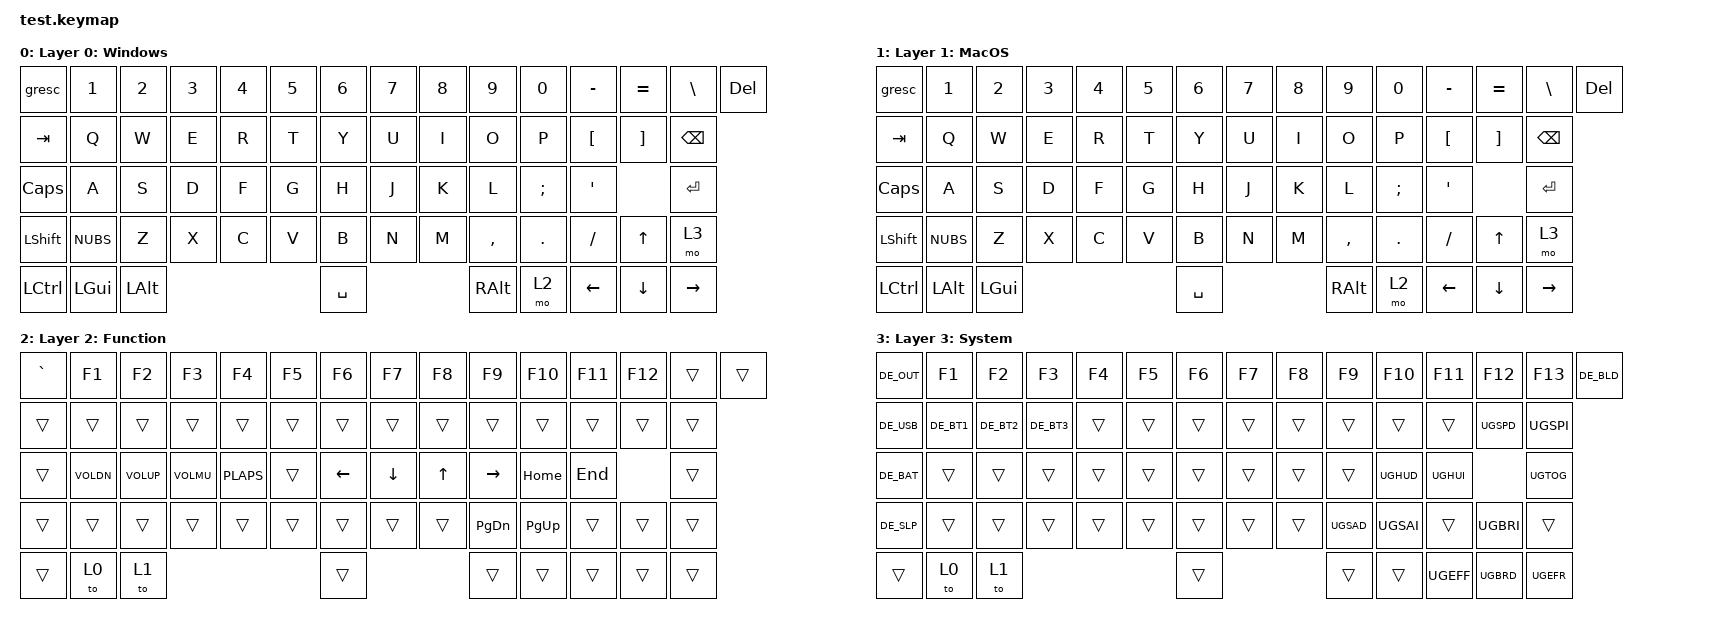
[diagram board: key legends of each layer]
/*
 * Copyright (c) 2026 DEKB
 * SPDX-License-Identifier: MIT
 */

#include "../common.keymap"

#define VOLUP kp C_VOL_UP
#define VOLDN kp C_VOL_DN
#define VOLMU kp C_MUTE
#define PLAPS kp C_PLAY_PAUSE

/ {
    keymap {
        compatible = "zmk,keymap";

        windows {
            label = "Layer 0: Windows";
            bindings = <
&gresc    &kp N1   &kp N2   &kp N3   &kp N4   &kp N5   &kp N6   &kp N7   &kp N8   &kp N9    &kp N0    &kp MINUS &kp EQUAL &kp BSLH   &kp DEL
&kp TAB   &kp Q    &kp W    &kp E    &kp R    &kp T    &kp Y    &kp U    &kp I    &kp O     &kp P     &kp LBKT  &kp RBKT  &kp BSPC
&kp CAPS  &kp A    &kp S    &kp D    &kp F    &kp G    &kp H    &kp J    &kp K    &kp L     &kp SEMI  &kp SQT             &kp ENTER
&kp LSHFT &kp NUBS &kp Z    &kp X    &kp C    &kp V    &kp B    &kp N    &kp M    &kp COMMA &kp DOT   &kp FSLH  &kp UP    &mo 3
&kp LCTRL &kp LGUI &kp LALT                            &kp SPACE                  &kp RALT  &mo 2     &kp LEFT  &kp DOWN  &kp RIGHT
            >;
        };

        macos {
            label = "Layer 1: MacOS";
            bindings = <
&gresc    &kp N1   &kp N2   &kp N3   &kp N4   &kp N5   &kp N6   &kp N7   &kp N8   &kp N9    &kp N0    &kp MINUS &kp EQUAL &kp BSLH   &kp DEL
&kp TAB   &kp Q    &kp W    &kp E    &kp R    &kp T    &kp Y    &kp U    &kp I    &kp O     &kp P     &kp LBKT  &kp RBKT  &kp BSPC
&kp CAPS  &kp A    &kp S    &kp D    &kp F    &kp G    &kp H    &kp J    &kp K    &kp L     &kp SEMI  &kp SQT             &kp ENTER
&kp LSHFT &kp NUBS &kp Z    &kp X    &kp C    &kp V    &kp B    &kp N    &kp M    &kp COMMA &kp DOT   &kp FSLH  &kp UP    &mo 3
&kp LCTRL &kp LALT &kp LGUI                            &kp SPACE                  &kp RALT  &mo 2     &kp LEFT  &kp DOWN  &kp RIGHT
            >;
        };

        function {
            label = "Layer 2: Function";
            bindings = <
&kp GRAVE &kp F1   &kp F2   &kp F3   &kp F4   &kp F5   &kp F6   &kp F7   &kp F8   &kp F9    &kp F10   &kp F11   &kp F12   &trans     &trans
&trans    &trans   &trans   &trans   &trans   &trans   &trans   &trans   &trans   &trans    &trans    &trans    &trans    &trans
&trans    &VOLDN   &VOLUP   &VOLMU   &PLAPS   &trans   &kp LEFT &kp DOWN &kp UP   &kp RIGHT &kp HOME  &kp END             &trans
&trans    &trans   &trans   &trans   &trans   &trans   &trans   &trans   &trans   &kp PG_DN &kp PG_UP &trans    &trans    &trans
&trans    &to 0    &to 1                               &trans                     &trans    &trans    &trans    &trans    &trans
            >;
        };

        system {
            label = "Layer 3: System";
            bindings = <
&DE_OUT   &kp F1   &kp F2   &kp F3   &kp F4   &kp F5   &kp F6   &kp F7   &kp F8   &kp F9    &kp F10   &kp F11   &kp F12   &kp F13    &DE_BLD
&DE_USB   &DE_BT1  &DE_BT2  &DE_BT3  &trans   &trans   &trans   &trans   &trans   &trans    &trans    &trans    &UGSPD    &UGSPI
&DE_BAT   &trans   &trans   &trans   &trans   &trans   &trans   &trans   &trans   &trans    &UGHUD    &UGHUI              &UGTOG
&DE_SLP   &trans   &trans   &trans   &trans   &trans   &trans   &trans   &trans   &UGSAD    &UGSAI    &trans    &UGBRI    &trans
&trans    &to 0    &to 1                               &trans                     &trans    &trans    &UGEFF    &UGBRD    &UGEFR
            >;
        };
    };
};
